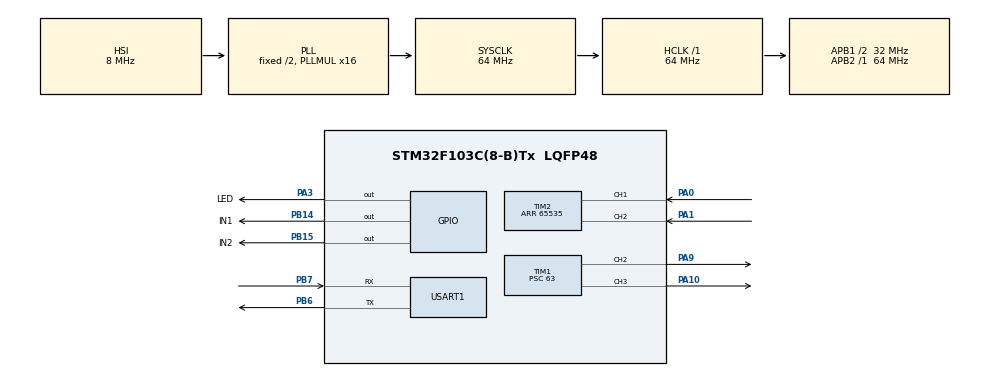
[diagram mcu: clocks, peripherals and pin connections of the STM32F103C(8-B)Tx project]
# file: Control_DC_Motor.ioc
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Mcu.Family=STM32F1
Mcu.Name=STM32F103C(8-B)Tx
Mcu.Package=LQFP48
NVIC.PriorityGroup=NVIC_PRIORITYGROUP_4
NVIC.TIM3_IRQn=true\:0\:0\:false\:false\:true\:true\:true\:true
NVIC.USART1_IRQn=true\:0\:0\:false\:false\:true\:true\:true\:true
PA0-WKUP.GPIO_PuPd=GPIO_PULLUP
PA0-WKUP.Signal=S_TIM2_CH1_ETR
PA1.GPIO_PuPd=GPIO_PULLUP
PA1.Signal=S_TIM2_CH2
PA10.Signal=S_TIM1_CH3
PA13.Mode=Serial_Wire
PA13.Signal=SYS_JTMS-SWDIO
PA14.Mode=Serial_Wire
PA14.Signal=SYS_JTCK-SWCLK
PA3.GPIO_Label=LED
PA3.Signal=GPIO_Output
PA9.Signal=S_TIM1_CH2
PB14.GPIO_Label=IN1
PB14.Signal=GPIO_Output
PB15.GPIO_Label=IN2
PB15.Signal=GPIO_Output
PB6.Mode=Asynchronous
PB6.Signal=USART1_TX
PB7.Mode=Asynchronous
PB7.Signal=USART1_RX
ProjectManager.HeapSize=0x200
ProjectManager.StackSize=0x400
ProjectManager.TargetToolchain=MDK-ARM V5
RCC.AHBFreq_Value=64000000
RCC.APB1CLKDivider=RCC_HCLK_DIV2
RCC.APB1Freq_Value=32000000
RCC.APB1TimFreq_Value=64000000
RCC.APB2Freq_Value=64000000
RCC.APB2TimFreq_Value=64000000
RCC.HCLKFreq_Value=64000000
RCC.PLLMUL=RCC_PLL_MUL16
RCC.SYSCLKFreq_VALUE=64000000
RCC.SYSCLKSource=RCC_SYSCLKSOURCE_PLLCLK
RCC.USBFreq_Value=64000000
SH.S_TIM1_CH2.0=TIM1_CH2,PWM Generation2 CH2
SH.S_TIM1_CH3.0=TIM1_CH3,PWM Generation3 CH3
SH.S_TIM2_CH1_ETR.0=TIM2_CH1,Encoder_Interface
SH.S_TIM2_CH2.0=TIM2_CH2,Encoder_Interface
TIM1.Channel-PWM\ Generation2\ CH2=TIM_CHANNEL_2
TIM1.Channel-PWM\ Generation3\ CH3=TIM_CHANNEL_3
TIM1.Period=999
TIM1.Prescaler=63
TIM2.AutoReloadPreload=TIM_AUTORELOAD_PRELOAD_DISABLE
TIM2.EncoderMode=TIM_ENCODERMODE_TI12
TIM2.Period=65535
TIM3.Period=1999
TIM3.Prescaler=639
USART1.VirtualMode=VM_ASYNC
VP_TIM3_VS_ClockSourceINT.Mode=Internal
board=custom

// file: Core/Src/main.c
/* USER CODE BEGIN Header */
/**
  ******************************************************************************
  * @file           : main.c
  * @brief          : Main program body
  ******************************************************************************
  * @attention
  *
  * Copyright (c) 2023 STMicroelectronics.
  * All rights reserved.
  *
  * This software is licensed under terms that can be found in the LICENSE file
  * in the root directory of this software component.
  * If no LICENSE file comes with this software, it is provided AS-IS.
  *
  ******************************************************************************
  */
/* USER CODE END Header */
#include "main.h"

/* USER CODE BEGIN Includes */
#include <string.h>
#include <stdio.h>
#include <stdlib.h>
#define Pulsee 10752.0 // 16 vong/phut * 168 (ti so truyen 1:168) *  4 (2 canh xung A va B)
#define Ts 0.02 // 20ms
char u8_RxBuff[100]; //buffer luu chuoi nhan duoc
uint8_t u8_RxData;
uint8_t _RxIndex;
char u8_TxBuff[50];
char u8_Data_ReceFromGUI[100];
uint16_t Uart_Flag = 0;
uint16_t Tx_Flag = 0;
uint16_t Motor_Accept_Flag = 0;//C? cho phép d?ng co ch?y
float Check_Mode_Select = 0;//Ch?n Velo Hay Posi??
float SetPoint = 0,Kp_Gui = 0,Ki_Gui = 0,Kd_Gui = 0;
/* USER CODE END Includes */

/* USER CODE BEGIN PD */
int16_t check_xung = 0, speed = 0;
float output_pid, vantoc_real, vitri_real;
float e_vitri = 0, e_pre_vitri = 0;
float e_vantoc = 0, e_pre_vantoc = 0;
volatile short counter = 0;
//------------------------------
///cau truc khai bao PID
typedef struct {
	float P_part;
	float I_part;
	float D_part;
} PID_control;
PID_control PID_contr;
//-------------------------
typedef struct {
	int32_t position;
	int16_t speed_by_encoder;  // don vi: xung/(tgian ngat timer)
	int16_t pre_speed_by_encoder;
	int16_t rate;
	short pre_counter;
	int32_t velocity;    // vong/phut
	int32_t pre_velocity;

} instance_encoder;
instance_encoder instance_enc;

/* USER CODE END PD */

TIM_HandleTypeDef htim1;
TIM_HandleTypeDef htim2;
TIM_HandleTypeDef htim3;

UART_HandleTypeDef huart1;

void SystemClock_Config(void);
static void MX_GPIO_Init(void);
static void MX_USART1_UART_Init(void);
static void MX_TIM1_Init(void);
static void MX_TIM2_Init(void);
static void MX_TIM3_Init(void);

/* USER CODE BEGIN 0 */
typedef enum {
	RR_MOTOR,
	NRR_MOTOR,
	STOP_MOTOR
} motor_status;
motor_status motor;

typedef enum
{
	Select_Velo,
	Select_Posi,
}Select_Tune;
int32_t prev_count = 0;
//-----------------------------------------------------------
void PWM_control_vantoc(TIM_HandleTypeDef *htim, float duty) {
	if(duty > 0)
	{
		HAL_GPIO_WritePin(IN1_GPIO_Port,IN1_Pin,GPIO_PIN_SET);
		HAL_GPIO_WritePin(IN2_GPIO_Port,IN2_Pin,GPIO_PIN_RESET); //chieu thuan cung chieu kim dong ho
		TIM1->CCR3 =  duty*(TIM1->ARR)/100;;
	}
	else if(duty < 0)
	{
		HAL_GPIO_WritePin(IN1_GPIO_Port,IN1_Pin,GPIO_PIN_RESET);
		HAL_GPIO_WritePin(IN2_GPIO_Port,IN2_Pin,GPIO_PIN_SET);
		TIM1->CCR3 =  (-duty)*(TIM1->ARR)/100; // nguoc chieu kim dong ho
	}
	else
	{
		HAL_GPIO_WritePin(IN1_GPIO_Port,IN1_Pin,GPIO_PIN_SET);
		HAL_GPIO_WritePin(IN2_GPIO_Port,IN2_Pin,GPIO_PIN_SET);
	}
}
//----------------------------------------------------------------------------------------------------------------------

void PWM_control_vitri(TIM_HandleTypeDef *htim, float duty)
{
	if(duty > 0)
	{
		HAL_GPIO_WritePin(IN1_GPIO_Port,IN1_Pin,GPIO_PIN_SET);
		HAL_GPIO_WritePin(IN2_GPIO_Port,IN2_Pin,GPIO_PIN_RESET); //cung chieu kim dong ho
		htim1.Instance->CCR3 =  duty*(htim1.Instance->ARR)/100;;
//		htim1.Instance->CCR3 =  duty*900/100;
	}
	else if(duty < 0) {
		HAL_GPIO_WritePin(IN1_GPIO_Port,IN1_Pin,GPIO_PIN_RESET);
		HAL_GPIO_WritePin(IN2_GPIO_Port,IN2_Pin,GPIO_PIN_SET);
		htim1.Instance->CCR3 =  (-duty)*(htim1.Instance->ARR)/100; // nguoc chieu kim dong ho
//		htim1.Instance->CCR3 =  -duty*900/100;
	}
	else {
		HAL_GPIO_WritePin(IN1_GPIO_Port,IN1_Pin,GPIO_PIN_SET);
		HAL_GPIO_WritePin(IN2_GPIO_Port,IN2_Pin,GPIO_PIN_SET);
	}
}
//
void Send_Data_To_Gui()
{
	if(Motor_Accept_Flag == 1 && Check_Mode_Select == 1.000000)
	{
		sprintf(u8_TxBuff,"11|%f \r\n",vantoc_real);
		HAL_UART_Transmit(&huart1,(uint8_t*)u8_TxBuff,sizeof(u8_TxBuff),20);
	}
	else if(Motor_Accept_Flag == 1 && Check_Mode_Select == 2.000000)
	{
		sprintf(u8_TxBuff,"11|%f \r\n",vitri_real);
		HAL_UART_Transmit(&huart1,(uint8_t*)u8_TxBuff,sizeof(u8_TxBuff),20);
	}
}
//------------------------------------------------------------------------------------------------------------------------

void encoder()
{
	//instance_enc.speed_by_encoder = TIM2->CNT;
//	htim2.Instance->CNT = 0;
	if(u8_Data_ReceFromGUI[0] == 'R')
	{
		htim2.Instance->CNT = 0;
		instance_enc.speed_by_encoder = 0;
		instance_enc.pre_speed_by_encoder = 0;
	}
	else
	{
		instance_enc.rate = htim2.Instance->CNT - instance_enc.pre_speed_by_encoder;
	    instance_enc.pre_speed_by_encoder = htim2.Instance->CNT;
        //instance_enc.speed_by_encoder = htim2.Instance->CNT;
	    instance_enc.position += instance_enc.rate;
	}
}
//-----------------------------------------------------------------------------------------------------------------------
//////////
void control_PID_Velocity(PID_control *pid_tune, float setpoint_vantoc, float Kp, float Ki, float Kd)    // moi chi dieu khien duoc toc do dong co
{   //velocity vong/phut
	vantoc_real =  (float)instance_enc.rate*60.0f/(Ts*2688*4);
	e_vantoc = setpoint_vantoc - (vantoc_real);
	instance_enc.velocity = vantoc_real;
	pid_tune->P_part = e_vantoc;
	pid_tune->I_part += e_vantoc*Ts;
	pid_tune->D_part = (e_vantoc-e_pre_vantoc)/Ts;
	output_pid = Kp*(pid_tune->P_part) + Ki*(pid_tune->I_part) + Kd*(pid_tune->D_part);
	if(output_pid > 95.0)
	{
		output_pid = 95.0;
	}
	else if(output_pid < -95.0)
	{
		output_pid = -95.0;
	}
	e_pre_vantoc = e_vantoc;

}
//--------------------------------------------------------------------------------------------------------------------

void control_PID_Position(PID_control *pid_tune, float setpoint_vitri, float Kp, float Ki, float Kd)
{
	vitri_real =  (float)instance_enc.position*360/10752;
	e_vitri = setpoint_vitri - (vitri_real);

	pid_tune->P_part = e_vitri;
	pid_tune->I_part += e_vitri*Ts;
	pid_tune->D_part = (e_vitri-e_pre_vitri)/Ts;
	output_pid = Kp*(pid_tune->P_part) + Ki*(pid_tune->I_part) + Kd*(pid_tune->D_part);
	if(output_pid > 95.0)
	{
		output_pid = 95.0;
	}
	else if(output_pid < -95.0)
	{
		output_pid = -95.0;
	}
	e_pre_vitri = e_vitri;
}
void select_mode(Select_Tune select)
{
//	select_tunning select;
	switch(select)
	{
		case Select_Posi:
		          /*control_PID_Position(&PID_contr, 180, 2.5, 0.0075, 0.01);
              PWM_control_vitri(&htim1, output_pid);
			        sprintf(buffer, "%f\n",vitri_real);
	            HAL_UART_Transmit(&huart1,(uint8_t*)buffer,strlen(buffer),HAL_MAX_DELAY);*/
//			sprintf(buffer, "Position is: %.3f", now_position);
//			HAL_UART_Receive_IT(&huart1, buffer, strlen(buffer));
		break;
		case Select_Velo:
			/*control_PID_Velocity(&PID_contr, 20, 2, 0.0001, 0.00005);
			PWM_control_vantoc(&htim1, output_pid);
		  sprintf(buffer, "%f\n",vantoc_real);
	    HAL_UART_Transmit(&huart1,(uint8_t*)buffer,strlen(buffer),HAL_MAX_DELAY);*/
		break;
		default:
		break;
	}
}
void HAL_TIM_PeriodElapsedCallback(TIM_HandleTypeDef *htim)
{
	if(htim->Instance == TIM3)
	{
		encoder();
	}
	if(Motor_Accept_Flag == 1 && Check_Mode_Select == 1.000000) //Van toc
	{
		control_PID_Velocity(&PID_contr, SetPoint, Kp_Gui, Ki_Gui, Kd_Gui);
		PWM_control_vantoc(&htim1, output_pid);
	}
	else if(Motor_Accept_Flag == 1 && Check_Mode_Select == 2.000000) //Vi tri
	{
		control_PID_Position(&PID_contr, SetPoint, Kp_Gui, Ki_Gui, Kd_Gui);
	    PWM_control_vitri(&htim1, output_pid);
	    //sprintf(u8_TxBuff,"%f\n",vitri_real);
	    //HAL_UART_Transmit(&huart1,(uint8_t*)u8_TxBuff,sizeof(u8_TxBuff),100);
	}
	Send_Data_To_Gui();
}
//-------------------------------------------------
//Ham ngat uart de nhan du lieu truyen xuong
void HAL_UART_RxCpltCallback(UART_HandleTypeDef *huart)
{
	 UNUSED(huart);
	if(huart->Instance == USART1)
	{
		if(u8_RxData != ';')
		{
			u8_RxBuff[_RxIndex++] = u8_RxData;
		}
		else if(u8_RxData == ';')
		{
			_RxIndex = 0;
			Uart_Flag = 1; //chuoi nhan ve tu Gui da truyen xong
		}
		HAL_UART_Receive_IT(&huart1,&u8_RxData,1);
	}
}
//------------------------------------------------------------------
//Ham con c?t chu?i nh?n du?c xu?t ra giá tr? SetPoint,Kp,Ki,Kd
void string_cut(char *input, char *key, float *value)
{
    char *ptr = strstr(input,key);
    if(ptr != NULL)
    {
        ptr += strlen(key);
        *value = atof(ptr);
    }
}
//Hàm con g?i data lên CSharp

//------------------------------------------------------------------
//------------------------------------------------------------------
/* USER CODE END 0 */

int main(void)
{

  /* MCU Configuration--------------------------------------------------------*/

  /* Reset of all peripherals, Initializes the Flash interface and the Systick. */
  HAL_Init();

  /* Configure the system clock */
  SystemClock_Config();

  /* Initialize all configured peripherals */
  MX_GPIO_Init();
  MX_USART1_UART_Init();
  MX_TIM1_Init();
  MX_TIM2_Init();
  MX_TIM3_Init();
  HAL_TIM_Encoder_Start(&htim2, TIM_CHANNEL_ALL);
  HAL_TIM_Base_Start_IT(&htim3);
  HAL_TIM_PWM_Start(&htim1, TIM_CHANNEL_3);
  HAL_UART_Receive_IT(&huart1,&u8_RxData,1);

  /* Infinite loop */
  while (1)
  {

    /* USER CODE BEGIN 3 */
	  if(Uart_Flag)
	  {
		  memset(u8_Data_ReceFromGUI,0,sizeof(u8_Data_ReceFromGUI));
		  strcpy(u8_Data_ReceFromGUI,u8_RxBuff);
		  if(u8_Data_ReceFromGUI[0] == 'S')
		  {
			  string_cut(u8_Data_ReceFromGUI,"Selectmode=",&Check_Mode_Select);
		  }
		  else if(u8_Data_ReceFromGUI[0] == 'C')
		  {
		  	  Motor_Accept_Flag = 1;
		  }
		  else if(u8_Data_ReceFromGUI[0] == 'K')
		  {
			  string_cut(u8_Data_ReceFromGUI,"Ksetpoint=",&SetPoint);
			  string_cut(u8_Data_ReceFromGUI,"Kp=",&Kp_Gui);
			  string_cut(u8_Data_ReceFromGUI,"Ki=",&Ki_Gui);
			  string_cut(u8_Data_ReceFromGUI,"Kd=",&Kd_Gui);
		  }
		  else if(u8_Data_ReceFromGUI[0] == 'R')
		  {
			  //Them ham xu ly Reset
			  Kp_Gui = Ki_Gui = Kd_Gui =0;
			  SetPoint = 0;
			  htim2.Instance->CNT = 0;
			  instance_enc.position = 0;
			  instance_enc.speed_by_encoder = 0;

			  if(Check_Mode_Select == 1.000000) //Van toc
			  {
				 control_PID_Velocity(&PID_contr, SetPoint, Kp_Gui, Ki_Gui, Kd_Gui);
			  }
			  else if(Check_Mode_Select == 2.000000) //Vi tri
			  {
			  	 control_PID_Position(&PID_contr, SetPoint, Kp_Gui, Ki_Gui, Kd_Gui);
			  }
			  output_pid = 0;
			  HAL_GPIO_WritePin(IN1_GPIO_Port, IN1_Pin, GPIO_PIN_RESET);
			  HAL_GPIO_WritePin(IN2_GPIO_Port, IN2_Pin, GPIO_PIN_RESET);
			  Check_Mode_Select = 0;
			  Motor_Accept_Flag = 0;
			  //NVIC_SystemReset();
		  }
		  Uart_Flag = 0;
		  memset(u8_RxBuff,0,sizeof(u8_RxBuff));
	  }
  }
  /* USER CODE END 3 */
}

void SystemClock_Config(void)
{
  RCC_OscInitTypeDef RCC_OscInitStruct = {0};
  RCC_ClkInitTypeDef RCC_ClkInitStruct = {0};

  /** Initializes the RCC Oscillators according to the specified parameters
  * in the RCC_OscInitTypeDef structure.
  */
  RCC_OscInitStruct.OscillatorType = RCC_OSCILLATORTYPE_HSI;
  RCC_OscInitStruct.HSIState = RCC_HSI_ON;
  RCC_OscInitStruct.HSICalibrationValue = RCC_HSICALIBRATION_DEFAULT;
  RCC_OscInitStruct.PLL.PLLState = RCC_PLL_ON;
  RCC_OscInitStruct.PLL.PLLSource = RCC_PLLSOURCE_HSI_DIV2;
  RCC_OscInitStruct.PLL.PLLMUL = RCC_PLL_MUL16;
  if (HAL_RCC_OscConfig(&RCC_OscInitStruct) != HAL_OK)
  {
    Error_Handler();
  }

  /** Initializes the CPU, AHB and APB buses clocks
  */
  RCC_ClkInitStruct.ClockType = RCC_CLOCKTYPE_HCLK|RCC_CLOCKTYPE_SYSCLK
                              |RCC_CLOCKTYPE_PCLK1|RCC_CLOCKTYPE_PCLK2;
  RCC_ClkInitStruct.SYSCLKSource = RCC_SYSCLKSOURCE_PLLCLK;
  RCC_ClkInitStruct.AHBCLKDivider = RCC_SYSCLK_DIV1;
  RCC_ClkInitStruct.APB1CLKDivider = RCC_HCLK_DIV2;
  RCC_ClkInitStruct.APB2CLKDivider = RCC_HCLK_DIV1;

  if (HAL_RCC_ClockConfig(&RCC_ClkInitStruct, FLASH_LATENCY_2) != HAL_OK)
  {
    Error_Handler();
  }
}

static void MX_TIM1_Init(void)
{

  TIM_MasterConfigTypeDef sMasterConfig = {0};
  TIM_OC_InitTypeDef sConfigOC = {0};
  TIM_BreakDeadTimeConfigTypeDef sBreakDeadTimeConfig = {0};

  htim1.Instance = TIM1;
  htim1.Init.Prescaler = 63;
  htim1.Init.CounterMode = TIM_COUNTERMODE_UP;
  htim1.Init.Period = 999;
  htim1.Init.ClockDivision = TIM_CLOCKDIVISION_DIV1;
  htim1.Init.RepetitionCounter = 0;
  htim1.Init.AutoReloadPreload = TIM_AUTORELOAD_PRELOAD_DISABLE;
  if (HAL_TIM_PWM_Init(&htim1) != HAL_OK)
  {
    Error_Handler();
  }
  sMasterConfig.MasterOutputTrigger = TIM_TRGO_RESET;
  sMasterConfig.MasterSlaveMode = TIM_MASTERSLAVEMODE_DISABLE;
  if (HAL_TIMEx_MasterConfigSynchronization(&htim1, &sMasterConfig) != HAL_OK)
  {
    Error_Handler();
  }
  sConfigOC.OCMode = TIM_OCMODE_PWM1;
  sConfigOC.Pulse = 0;
  sConfigOC.OCPolarity = TIM_OCPOLARITY_HIGH;
  sConfigOC.OCNPolarity = TIM_OCNPOLARITY_HIGH;
  sConfigOC.OCFastMode = TIM_OCFAST_DISABLE;
  sConfigOC.OCIdleState = TIM_OCIDLESTATE_RESET;
  sConfigOC.OCNIdleState = TIM_OCNIDLESTATE_RESET;
  if (HAL_TIM_PWM_ConfigChannel(&htim1, &sConfigOC, TIM_CHANNEL_2) != HAL_OK)
  {
    Error_Handler();
  }
  if (HAL_TIM_PWM_ConfigChannel(&htim1, &sConfigOC, TIM_CHANNEL_3) != HAL_OK)
  {
    Error_Handler();
  }
  sBreakDeadTimeConfig.OffStateRunMode = TIM_OSSR_DISABLE;
  sBreakDeadTimeConfig.OffStateIDLEMode = TIM_OSSI_DISABLE;
  sBreakDeadTimeConfig.LockLevel = TIM_LOCKLEVEL_OFF;
  sBreakDeadTimeConfig.DeadTime = 0;
  sBreakDeadTimeConfig.BreakState = TIM_BREAK_DISABLE;
  sBreakDeadTimeConfig.BreakPolarity = TIM_BREAKPOLARITY_HIGH;
  sBreakDeadTimeConfig.AutomaticOutput = TIM_AUTOMATICOUTPUT_DISABLE;
  if (HAL_TIMEx_ConfigBreakDeadTime(&htim1, &sBreakDeadTimeConfig) != HAL_OK)
  {
    Error_Handler();
  }
  HAL_TIM_MspPostInit(&htim1);

}

static void MX_TIM2_Init(void)
{

  TIM_Encoder_InitTypeDef sConfig = {0};
  TIM_MasterConfigTypeDef sMasterConfig = {0};

  htim2.Instance = TIM2;
  htim2.Init.Prescaler = 0;
  htim2.Init.CounterMode = TIM_COUNTERMODE_UP;
  htim2.Init.Period = 65535;
  htim2.Init.ClockDivision = TIM_CLOCKDIVISION_DIV1;
  htim2.Init.AutoReloadPreload = TIM_AUTORELOAD_PRELOAD_DISABLE;
  sConfig.EncoderMode = TIM_ENCODERMODE_TI12;
  sConfig.IC1Polarity = TIM_ICPOLARITY_RISING;
  sConfig.IC1Selection = TIM_ICSELECTION_DIRECTTI;
  sConfig.IC1Prescaler = TIM_ICPSC_DIV1;
  sConfig.IC1Filter = 0;
  sConfig.IC2Polarity = TIM_ICPOLARITY_RISING;
  sConfig.IC2Selection = TIM_ICSELECTION_DIRECTTI;
  sConfig.IC2Prescaler = TIM_ICPSC_DIV1;
  sConfig.IC2Filter = 0;
  if (HAL_TIM_Encoder_Init(&htim2, &sConfig) != HAL_OK)
  {
    Error_Handler();
  }
  sMasterConfig.MasterOutputTrigger = TIM_TRGO_RESET;
  sMasterConfig.MasterSlaveMode = TIM_MASTERSLAVEMODE_DISABLE;
  if (HAL_TIMEx_MasterConfigSynchronization(&htim2, &sMasterConfig) != HAL_OK)
  {
    Error_Handler();
  }

}

static void MX_TIM3_Init(void)
{

  TIM_ClockConfigTypeDef sClockSourceConfig = {0};
  TIM_MasterConfigTypeDef sMasterConfig = {0};

  htim3.Instance = TIM3;
  htim3.Init.Prescaler = 639;
  htim3.Init.CounterMode = TIM_COUNTERMODE_UP;
  htim3.Init.Period = 1999;
  htim3.Init.ClockDivision = TIM_CLOCKDIVISION_DIV1;
  htim3.Init.AutoReloadPreload = TIM_AUTORELOAD_PRELOAD_DISABLE;
  if (HAL_TIM_Base_Init(&htim3) != HAL_OK)
  {
    Error_Handler();
  }
  sClockSourceConfig.ClockSource = TIM_CLOCKSOURCE_INTERNAL;
  if (HAL_TIM_ConfigClockSource(&htim3, &sClockSourceConfig) != HAL_OK)
  {
    Error_Handler();
  }
  sMasterConfig.MasterOutputTrigger = TIM_TRGO_RESET;
  sMasterConfig.MasterSlaveMode = TIM_MASTERSLAVEMODE_DISABLE;
  if (HAL_TIMEx_MasterConfigSynchronization(&htim3, &sMasterConfig) != HAL_OK)
  {
    Error_Handler();
  }

}

static void MX_USART1_UART_Init(void)
{

  huart1.Instance = USART1;
  huart1.Init.BaudRate = 115200;
  huart1.Init.WordLength = UART_WORDLENGTH_8B;
  huart1.Init.StopBits = UART_STOPBITS_1;
  huart1.Init.Parity = UART_PARITY_NONE;
  huart1.Init.Mode = UART_MODE_TX_RX;
  huart1.Init.HwFlowCtl = UART_HWCONTROL_NONE;
  huart1.Init.OverSampling = UART_OVERSAMPLING_16;
  if (HAL_UART_Init(&huart1) != HAL_OK)
  {
    Error_Handler();
  }

}

static void MX_GPIO_Init(void)
{
  GPIO_InitTypeDef GPIO_InitStruct = {0};

  /* GPIO Ports Clock Enable */
  __HAL_RCC_GPIOA_CLK_ENABLE();
  __HAL_RCC_GPIOB_CLK_ENABLE();

  /*Configure GPIO pin Output Level */
  HAL_GPIO_WritePin(LED_GPIO_Port, LED_Pin, GPIO_PIN_RESET);

  /*Configure GPIO pin Output Level */
  HAL_GPIO_WritePin(GPIOB, IN1_Pin|IN2_Pin, GPIO_PIN_RESET);

  /*Configure GPIO pin : LED_Pin */
  GPIO_InitStruct.Pin = LED_Pin;
  GPIO_InitStruct.Mode = GPIO_MODE_OUTPUT_PP;
  GPIO_InitStruct.Pull = GPIO_PULLUP;
  GPIO_InitStruct.Speed = GPIO_SPEED_FREQ_LOW;
  HAL_GPIO_Init(LED_GPIO_Port, &GPIO_InitStruct);

  /*Configure GPIO pins : IN1_Pin IN2_Pin */
  GPIO_InitStruct.Pin = IN1_Pin|IN2_Pin;
  GPIO_InitStruct.Mode = GPIO_MODE_OUTPUT_PP;
  GPIO_InitStruct.Pull = GPIO_NOPULL;
  GPIO_InitStruct.Speed = GPIO_SPEED_FREQ_LOW;
  HAL_GPIO_Init(GPIOB, &GPIO_InitStruct);

}

void Error_Handler(void)
{
  __disable_irq();
  while (1)
  {
  }
}
